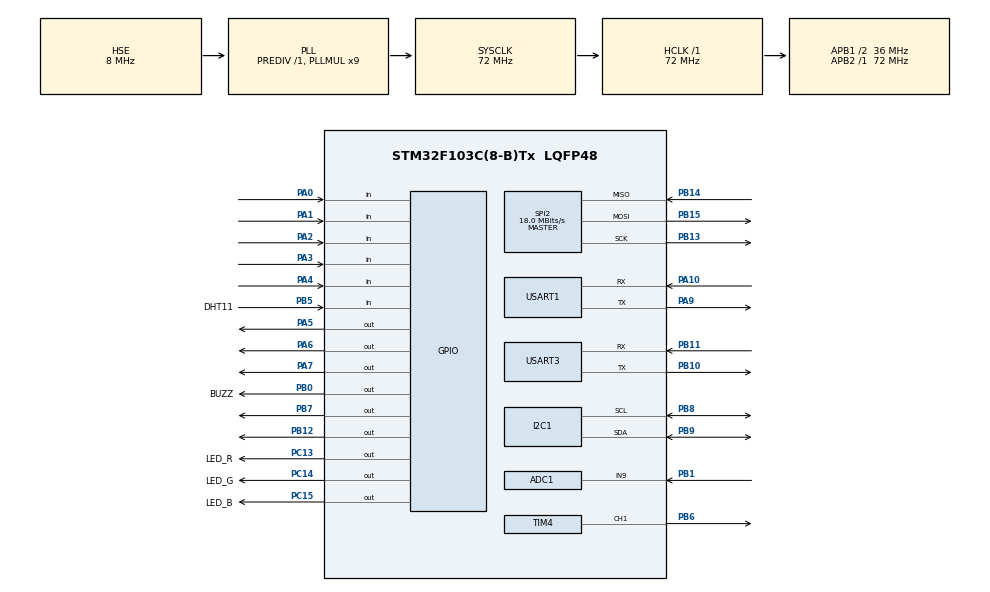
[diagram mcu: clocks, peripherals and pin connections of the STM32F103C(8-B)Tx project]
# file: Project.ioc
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ADC1.Channel-2\#ChannelRegularConversion=ADC_CHANNEL_9
ADC1.NbrOfConversionFlag=1
ADC1.Rank-2\#ChannelRegularConversion=1
ADC1.SamplingTime-2\#ChannelRegularConversion=ADC_SAMPLETIME_1CYCLE_5
ADC1.master=1
Mcu.Family=STM32F1
Mcu.Name=STM32F103C(8-B)Tx
Mcu.Package=LQFP48
NVIC.PriorityGroup=NVIC_PRIORITYGROUP_4
NVIC.USART3_IRQn=true\:2\:0\:true\:false\:true\:true\:true
PA0-WKUP.Signal=GPIO_Input
PA1.Signal=GPIO_Input
PA10.Mode=Asynchronous
PA10.Signal=USART1_RX
PA13.Mode=Serial_Wire
PA13.Signal=SYS_JTMS-SWDIO
PA14.Mode=Serial_Wire
PA14.Signal=SYS_JTCK-SWCLK
PA2.Signal=GPIO_Input
PA3.Signal=GPIO_Input
PA4.Signal=GPIO_Input
PA5.Signal=GPIO_Output
PA6.Signal=GPIO_Output
PA7.Signal=GPIO_Output
PA9.Mode=Asynchronous
PA9.Signal=USART1_TX
PB0.GPIO_Label=BUZZ
PB0.Signal=GPIO_Output
PB1.Signal=ADCx_IN9
PB10.Mode=Asynchronous
PB10.Signal=USART3_TX
PB11.Mode=Asynchronous
PB11.Signal=USART3_RX
PB12.Signal=GPIO_Output
PB13.Mode=Full_Duplex_Master
PB13.Signal=SPI2_SCK
PB14.Mode=Full_Duplex_Master
PB14.Signal=SPI2_MISO
PB15.Mode=Full_Duplex_Master
PB15.Signal=SPI2_MOSI
PB5.GPIO_Label=DHT11
PB5.Signal=GPIO_Input
PB6.Signal=S_TIM4_CH1
PB7.Signal=GPIO_Output
PB8.Mode=I2C
PB8.Signal=I2C1_SCL
PB9.Mode=I2C
PB9.Signal=I2C1_SDA
PC13-TAMPER-RTC.GPIO_Label=LED_R
PC13-TAMPER-RTC.Signal=GPIO_Output
PC14-OSC32_IN.GPIO_Label=LED_G
PC14-OSC32_IN.Signal=GPIO_Output
PC15-OSC32_OUT.GPIO_Label=LED_B
PC15-OSC32_OUT.Signal=GPIO_Output
PD0-OSC_IN.Mode=HSE-External-Oscillator
PD0-OSC_IN.Signal=RCC_OSC_IN
PD1-OSC_OUT.Mode=HSE-External-Oscillator
PD1-OSC_OUT.Signal=RCC_OSC_OUT
ProjectManager.HeapSize=0x200
ProjectManager.StackSize=0x400
ProjectManager.TargetToolchain=MDK-ARM V5.27
RCC.ADCPresc=RCC_ADCPCLK2_DIV6
RCC.AHBFreq_Value=72000000
RCC.APB1CLKDivider=RCC_HCLK_DIV2
RCC.APB1Freq_Value=36000000
RCC.APB1TimFreq_Value=72000000
RCC.APB2Freq_Value=72000000
RCC.APB2TimFreq_Value=72000000
RCC.HCLKFreq_Value=72000000
RCC.PLLMUL=RCC_PLL_MUL9
RCC.PLLSourceVirtual=RCC_PLLSOURCE_HSE
RCC.SYSCLKFreq_VALUE=72000000
RCC.SYSCLKSource=RCC_SYSCLKSOURCE_PLLCLK
RCC.USBFreq_Value=72000000
SH.ADCx_IN9.0=ADC1_IN9,IN9
SH.S_TIM4_CH1.0=TIM4_CH1,Output Compare1 CH1
SPI2.CalculateBaudRate=18.0 MBits/s
SPI2.Direction=SPI_DIRECTION_2LINES
SPI2.Mode=SPI_MODE_MASTER
SPI2.VirtualType=VM_MASTER
TIM3.Period=199
TIM3.Prescaler=7199
TIM4.Channel-Output\ Compare1\ CH1=TIM_CHANNEL_1
TIM4.Period=1999
TIM4.Prescaler=719
TIM4.Pulse-Output\ Compare1\ CH1=50
USART1.VirtualMode=VM_ASYNC
USART3.VirtualMode=VM_ASYNC
VP_TIM3_VS_ClockSourceINT.Mode=Internal
board=custom

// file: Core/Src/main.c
/* USER CODE BEGIN Header */
/**
  ******************************************************************************
  * @file           : main.c
  * @brief          : Main program body
  ******************************************************************************
  * @attention
  *
  * <h2><center>&copy; Copyright (c) 2021 STMicroelectronics.
  * All rights reserved.</center></h2>
  *
  * This software component is licensed by ST under BSD 3-Clause license,
  * the "License"; You may not use this file except in compliance with the
  * License. You may obtain a copy of the License at:
  *                        opensource.org/licenses/BSD-3-Clause
  *
  ******************************************************************************
  */
/* USER CODE END Header */
#include "main.h"
#include "adc.h"
#include "i2c.h"
#include "spi.h"
#include "tim.h"
#include "usart.h"
#include "gpio.h"

/* USER CODE BEGIN Includes */
#include "oled.h"
#include "dht11.h"
#include "flash.h"
#include "esp8266.h"
#include "sensor_light.h"
#include "rc522.h"
#include "process.h"
#include "mqtt.h"

/* USER CODE END Includes */

void SystemClock_Config(void);

/* USER CODE BEGIN 0 */
extern volatile int key_flag;

void delay_ms(int ms)
{
	HAL_Delay(ms);
}
/* USER CODE END 0 */

int main(void)
{
  /* USER CODE BEGIN 1 */
	int flag_led = 0;
	DHT11_Data_TypeDef  DHT11_Data = { 0x00 };
  /* USER CODE END 1 */

  /* MCU Configuration--------------------------------------------------------*/

  /* Reset of all peripherals, Initializes the Flash interface and the Systick. */
  HAL_Init();

  /* Configure the system clock */
  SystemClock_Config();

  /* Initialize all configured peripherals */
  MX_GPIO_Init();
  MX_ADC1_Init();
  MX_TIM3_Init();
  MX_USART1_UART_Init();
  MX_USART3_UART_Init();
  MX_TIM4_Init();
  MX_I2C1_Init();
  MX_SPI2_Init();
  /* USER CODE BEGIN 2 */
  printf("start application\r\n");
  stop_buzz();
  dht11_init();
  oled_init();
//  macRC522_Reset_Disable();
//  macRC522_CS_Disable();

//  PcdReset();//RC522复位
//  M500PcdConfigISOType ( 'A' );//设置工作方式

  delay_ms(1000);
  oled_fill(0xFF);//全屏点亮
  delay_ms(200);
  oled_fill(0x00);//全屏灭
	oled_show_string(30, 0, "Dormitory", 2);
	oled_show_string(0, 3, "Temper:", 1);
	oled_show_string(70, 3, "Humi:", 1);
  MX_TIM4_Init();

	if (HAL_OK == HAL_UART_Receive_IT(&huart3, &aRxBuffer, 1))
	{
		printf("enable uart3 isr\r\n");
	}

  if (HAL_OK == HAL_TIM_PWM_Start(&htim4,TIM_CHANNEL_1))
  {
	printf("enable time4 pwm output\r\n");
  }

  if (HAL_TIM_Base_Start_IT(&htim4))
  {
	printf("enable time3 base isr\r\n");
  }
	ESP8266_STA_MQTTClient_Init();
  printf("ready go into while1\r\n");

  /* USER CODE END 2 */

  /* Infinite loop */
  while (1)
  {

    /* USER CODE BEGIN 3 */
		if ( key_flag )
		{
			HAL_GPIO_TogglePin(LED_G_GPIO_Port, LED_G_Pin);

			key_flag = 0;
		}
		if (1 == ESP8266_Fram_Record_Struct.InfBit.FramFinishFlag)
		{
			printf("recv : %s\r\n", ESP8266_Fram_Record_Struct.Data_RX_BUF);
			ESP8266_Fram_Record_Struct.InfBit.FramLength = 0;
			ESP8266_Fram_Record_Struct.InfBit.FramFinishFlag = 0;
		}
    HAL_Delay(10);
  }
  /* USER CODE END 3 */
}

void SystemClock_Config(void)
{
  RCC_OscInitTypeDef RCC_OscInitStruct = {0};
  RCC_ClkInitTypeDef RCC_ClkInitStruct = {0};
  RCC_PeriphCLKInitTypeDef PeriphClkInit = {0};

  /** Initializes the RCC Oscillators according to the specified parameters
  * in the RCC_OscInitTypeDef structure.
  */
  RCC_OscInitStruct.OscillatorType = RCC_OSCILLATORTYPE_HSE;
  RCC_OscInitStruct.HSEState = RCC_HSE_ON;
  RCC_OscInitStruct.HSEPredivValue = RCC_HSE_PREDIV_DIV1;
  RCC_OscInitStruct.HSIState = RCC_HSI_ON;
  RCC_OscInitStruct.PLL.PLLState = RCC_PLL_ON;
  RCC_OscInitStruct.PLL.PLLSource = RCC_PLLSOURCE_HSE;
  RCC_OscInitStruct.PLL.PLLMUL = RCC_PLL_MUL9;
  if (HAL_RCC_OscConfig(&RCC_OscInitStruct) != HAL_OK)
  {
    Error_Handler();
  }
  /** Initializes the CPU, AHB and APB buses clocks
  */
  RCC_ClkInitStruct.ClockType = RCC_CLOCKTYPE_HCLK|RCC_CLOCKTYPE_SYSCLK
                              |RCC_CLOCKTYPE_PCLK1|RCC_CLOCKTYPE_PCLK2;
  RCC_ClkInitStruct.SYSCLKSource = RCC_SYSCLKSOURCE_PLLCLK;
  RCC_ClkInitStruct.AHBCLKDivider = RCC_SYSCLK_DIV1;
  RCC_ClkInitStruct.APB1CLKDivider = RCC_HCLK_DIV2;
  RCC_ClkInitStruct.APB2CLKDivider = RCC_HCLK_DIV1;

  if (HAL_RCC_ClockConfig(&RCC_ClkInitStruct, FLASH_LATENCY_2) != HAL_OK)
  {
    Error_Handler();
  }
  PeriphClkInit.PeriphClockSelection = RCC_PERIPHCLK_ADC;
  PeriphClkInit.AdcClockSelection = RCC_ADCPCLK2_DIV6;
  if (HAL_RCCEx_PeriphCLKConfig(&PeriphClkInit) != HAL_OK)
  {
    Error_Handler();
  }
}

void Error_Handler(void)
{
}

/************************ (C) COPYRIGHT STMicroelectronics *****END OF FILE****/
